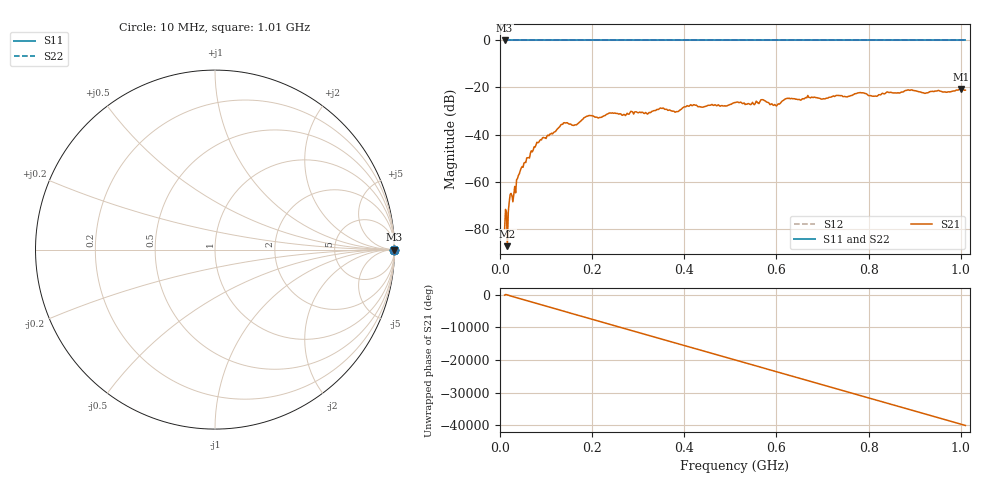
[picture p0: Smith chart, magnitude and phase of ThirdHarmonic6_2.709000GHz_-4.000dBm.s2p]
! 8/17/2025 6:31:58 AM
! C:\ANRITSUVNA\TEMP\TEMP.S2P
! CHANNEL.1
! TR.MEASUREMENT
! RAW.DATA
! RF.CORRECTION.OFF
! AVERAGING.OFF
! IF.BANDWIDTH: 5KHZ
! SWEEPTYPE:  FREQ.SWEEP(Linear)
! Reference Plane Port Info
! PORT:  PORT1  PORT2
! DISTANCE:  0  m  0  m
! TIME:  0  s  0  s
! PHASE.OFFSET:  0  deg.  0  deg.
! LOSS:  0  dB  0  dB
! REF.LOSS:  0  dB  0  dB
! REF.FREQ:  0  Hz  0  Hz
! Power Info
! POWER:  -20  dBm  -20  dBm
! EFF.POWER:  -20  dBm  -20  dBm
! SOURCE.ATTEN:  0  dB  0  dB
! TEST.ATTEN:  0  dB  0  dB
# GHZ S RI R 50.0
! FREQ.GHZ  S11RE  S11IM  S21RE  S21IM  S12RE  S12IM  S22RE  S22IM
!; PortSelection: Port_12
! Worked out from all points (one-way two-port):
!   501 points, 10 MHz to 1.01 GHz, reference 50 ohm
!   highest |S21| = -20.59 dB at 1 GHz (marker M1); lowest = -87.5 dB at 16 MHz (marker M2)
!   lowest |S11| = 0.0 dB at 10 MHz (marker M3)
!   |S11| at or under -10 dB: nowhere
!   |S22| runs from 0.0 to 0.0 dB; largest |S21 - S12| = 1.1
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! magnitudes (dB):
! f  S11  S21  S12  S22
! 10 MHz  0.0  -80.2  0.0  0.0
! 16 MHz  0.0  -87.5  0.0  0.0
! 22 MHz  0.0  -65.5  0.0  0.0
! 30 MHz  0.0  -65.4  0.0  0.0
! 44 MHz  0.0  -55.3  0.0  0.0
! 78 MHz  0.0  -44.5  0.0  0.0
! 136 MHz  0.0  -35.7  0.0  0.0
! 162 MHz  0.0  -35.9  0.0  0.0
! 178 MHz  0.0  -33.7  0.0  0.0
! 194 MHz  0.0  -31.9  0.0  0.0
! 322 MHz  0.0  -30.9  0.0  0.0
! 344 MHz  0.0  -29.4  0.0  0.0
! 384 MHz  0.0  -30.2  0.0  0.0
! 410 MHz  0.0  -28.0  0.0  0.0
! 510 MHz  0.0  -26.4  0.0  0.0
! 570 MHz  0.0  -25.2  0.0  0.0
! 598 MHz  0.0  -27.5  0.0  0.0
! 624 MHz  0.0  -24.6  0.0  0.0
! 678 MHz  0.0  -24.2  0.0  0.0
! 844 MHz  0.0  -22.2  0.0  0.0
! 1 GHz  0.0  -20.6  0.0  0.0
! 1.01 GHz  0.0  -21.1  0.0  0.0
